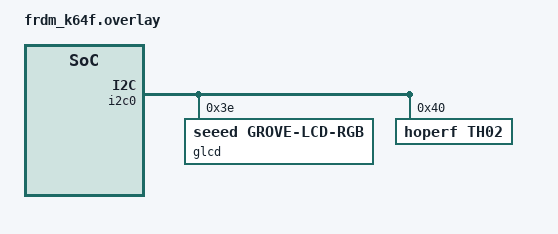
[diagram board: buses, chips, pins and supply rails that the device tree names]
/*
 * Copyright (c) 2019, Linaro Ltd.
 *
 * SPDX-License-Identifier: Apache-2.0
 */

&i2c0 {
	glcd: glcd@3e {
		compatible = "seeed,grove-lcd-rgb";
		reg = <0x3e>;
	};

	th02@40 {
		compatible = "hoperf,th02";
		reg = <0x40>;
	};
};
